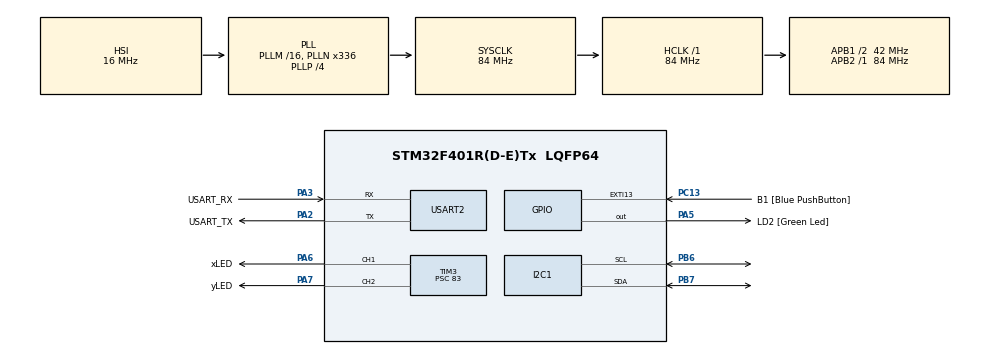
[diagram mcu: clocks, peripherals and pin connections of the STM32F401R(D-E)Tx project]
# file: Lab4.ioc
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Mcu.Family=STM32F4
Mcu.Name=STM32F401R(D-E)Tx
Mcu.Package=LQFP64
NVIC.EXTI15_10_IRQn=true\:0\:0\:false\:false\:true\:true\:true
NVIC.PriorityGroup=NVIC_PRIORITYGROUP_0
NVIC.TIM1_UP_TIM10_IRQn=true\:0\:0\:false\:false\:true\:true\:true
PA13.GPIO_Label=TMS
PA13.Mode=Serial_Wire
PA13.Signal=SYS_JTMS-SWDIO
PA14.GPIO_Label=TCK
PA14.Mode=Serial_Wire
PA14.Signal=SYS_JTCK-SWCLK
PA2.GPIO_Label=USART_TX
PA2.GPIO_Mode=GPIO_MODE_AF_PP
PA2.GPIO_PuPd=GPIO_NOPULL
PA2.GPIO_Speed=GPIO_SPEED_FREQ_LOW
PA2.Mode=Asynchronous
PA2.Signal=USART2_TX
PA3.GPIO_Label=USART_RX
PA3.GPIO_Mode=GPIO_MODE_AF_PP
PA3.GPIO_PuPd=GPIO_NOPULL
PA3.GPIO_Speed=GPIO_SPEED_FREQ_LOW
PA3.Mode=Asynchronous
PA3.Signal=USART2_RX
PA5.GPIO_Label=LD2 [Green Led]
PA5.GPIO_Mode=GPIO_MODE_OUTPUT_PP
PA5.GPIO_PuPd=GPIO_NOPULL
PA5.GPIO_Speed=GPIO_SPEED_FREQ_LOW
PA5.Signal=GPIO_Output
PA6.GPIO_Label=xLED
PA6.Signal=S_TIM3_CH1
PA7.GPIO_Label=yLED
PA7.Signal=S_TIM3_CH2
PB3.GPIO_Label=SWO
PB3.Signal=SYS_JTDO-SWO
PB6.Mode=I2C
PB6.Signal=I2C1_SCL
PB7.Mode=I2C
PB7.Signal=I2C1_SDA
PC13-ANTI_TAMP.GPIO_Label=B1 [Blue PushButton]
PC13-ANTI_TAMP.GPIO_ModeDefaultEXTI=GPIO_MODE_IT_FALLING
PC13-ANTI_TAMP.GPIO_PuPd=GPIO_NOPULL
PC13-ANTI_TAMP.Signal=GPXTI13
PC14-OSC32_IN.Mode=LSE-External-Oscillator
PC14-OSC32_IN.Signal=RCC_OSC32_IN
PC15-OSC32_OUT.Mode=LSE-External-Oscillator
PC15-OSC32_OUT.Signal=RCC_OSC32_OUT
PH0\ -\ OSC_IN.Mode=HSE-External-Clock-Source
PH0\ -\ OSC_IN.Signal=RCC_OSC_IN
PH1\ -\ OSC_OUT.Mode=HSE-External-Clock-Source
PH1\ -\ OSC_OUT.Signal=RCC_OSC_OUT
ProjectManager.HeapSize=0x200
ProjectManager.StackSize=0x400
ProjectManager.TargetToolchain=STM32CubeIDE
RCC.48MHZClocksFreq_Value=48000000
RCC.AHBFreq_Value=84000000
RCC.APB1CLKDivider=RCC_HCLK_DIV2
RCC.APB1Freq_Value=42000000
RCC.APB1TimFreq_Value=84000000
RCC.APB2Freq_Value=84000000
RCC.APB2TimFreq_Value=84000000
RCC.CortexFreq_Value=84000000
RCC.HCLKFreq_Value=84000000
RCC.HSE_VALUE=8000000
RCC.HSI_VALUE=16000000
RCC.PLLN=336
RCC.PLLP=RCC_PLLP_DIV4
RCC.PLLQ=7
RCC.SYSCLKFreq_VALUE=84000000
RCC.SYSCLKSource=RCC_SYSCLKSOURCE_PLLCLK
RCC.VCOOutputFreq_Value=336000000
SH.S_TIM3_CH1.0=TIM3_CH1,PWM Generation1 CH1
SH.S_TIM3_CH2.0=TIM3_CH2,PWM Generation2 CH2
TIM1.Period=1999
TIM1.Prescaler=8399
TIM3.Channel-PWM\ Generation1\ CH1=TIM_CHANNEL_1
TIM3.Channel-PWM\ Generation2\ CH2=TIM_CHANNEL_2
TIM3.Period=999
TIM3.Prescaler=83
USART2.VirtualMode=VM_ASYNC
VP_TIM1_VS_ClockSourceINT.Mode=Internal
board=NUCLEO-F401RE

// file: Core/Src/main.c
/* USER CODE BEGIN Header */
/**
 ******************************************************************************
 * @file           : main.c
 * @brief          : Main program body
 ******************************************************************************
 * @attention
 *
 * <h2><center>&copy; Copyright (c) 2020 STMicroelectronics.
 * All rights reserved.</center></h2>
 *
 * This software component is licensed by ST under BSD 3-Clause license,
 * the "License"; You may not use this file except in compliance with the
 * License. You may obtain a copy of the License at:
 *                        opensource.org/licenses/BSD-3-Clause
 *
 ******************************************************************************
 */
/* USER CODE END Header */
#include "main.h"

/* USER CODE BEGIN Includes */
#include <math.h>
/* USER CODE END Includes */

/* USER CODE BEGIN PD */
#define adxl_address 0x53<<1
/* USER CODE END PD */

I2C_HandleTypeDef hi2c1;

TIM_HandleTypeDef htim1;
TIM_HandleTypeDef htim3;

UART_HandleTypeDef huart2;

/* USER CODE BEGIN PV */
uint8_t data_rec[6];
int16_t x, y, z;
double xg, yg, zg;
int updateReady = 0;	// flag
int offset = 0;
int xDegree = 0;
int yDegree = 0;
uint32_t pwm = 0;

/* USER CODE END PV */

void SystemClock_Config(void);
static void MX_GPIO_Init(void);
static void MX_USART2_UART_Init(void);
static void MX_I2C1_Init(void);
static void MX_TIM1_Init(void);
static void MX_TIM3_Init(void);

/* USER CODE BEGIN 0 */

void levelBubbleLED(){

	if(xDegree < 1){
		// x LED Pin low
		pwm=0;
		__HAL_TIM_SET_COMPARE(&htim3, TIM_CHANNEL_1, pwm);
	}
	else if(xDegree >= 1 && xDegree <= 5){
		pwm=99;
		__HAL_TIM_SET_COMPARE(&htim3, TIM_CHANNEL_1, pwm);

	}
	else{	// >5
		// x LED Pin high
		pwm=999;
		__HAL_TIM_SET_COMPARE(&htim3, TIM_CHANNEL_1, pwm);
	}

	if(yDegree < 1){
		// y LED Pin low
		pwm=0;
		__HAL_TIM_SET_COMPARE(&htim3, TIM_CHANNEL_2, pwm);
	}
	else if(yDegree >= 1 && yDegree <= 5){
		pwm=99;
		__HAL_TIM_SET_COMPARE(&htim3, TIM_CHANNEL_2, pwm);
	}
	else{	// >5
		// y LED Pin high
		pwm=999;
		__HAL_TIM_SET_COMPARE(&htim3, TIM_CHANNEL_2, pwm);
	}
}

void ADXL345_Write(uint8_t reg, uint8_t value){
	uint8_t data[2];
	data[0] = reg;
	data[1] = value;
	HAL_I2C_Master_Transmit(&hi2c1, adxl_address, data, 2, 10);
}

void ADXL345_Read(uint8_t reg, uint8_t numberOfBytes){
	HAL_I2C_Mem_Read(&hi2c1, adxl_address, reg, 1, data_rec, numberOfBytes, 100);
}

void ADXL345_Init(){
	ADXL345_Read(0x00, 1);	//0xE5

	ADXL345_Write(0x2d, 0);		// reset all bits
	ADXL345_Write(0x2d, 0x08);
	ADXL345_Write(0x31, 0x01);
}

void ADXL345_SetOffset(uint8_t x, uint8_t y, uint8_t z){
	// write values to offset registers
	ADXL345_Write(0x1E, x);
	HAL_Delay(10);
	ADXL345_Write(0x1F, y);
	HAL_Delay(10);
	ADXL345_Write(0x20, z);
	HAL_Delay(10);

	offset=0;
}

void calcXDegree(){
	xDegree = (atan2(xg, sqrt(pow(yg, 2) + pow(zg, 2))) *180)/M_PI;
	//xDegree = abs(xCalc);
}

void calcYDegree(){
	//yDegree = (atan2(yg, sqrt(pow(xg, 2) + pow(zg, 2))) *180)/M_PI;
	//yDegree = abs(yCalc);

	yDegree=0;
}

void readValues(){
	if(updateReady==1){
		// read ADXL x and y values from register
		ADXL345_Read(0x32, 6);

		x=(data_rec[1]<<8 | data_rec[0]);
		y=(data_rec[3]<<8 | data_rec[2]);
		z=(data_rec[5]<<8 | data_rec[4]);

		// calibrate
		if(offset == 1){
			ADXL345_SetOffset((-x/4), (-y/4), (-z/4));
		}

		//convert to g
		xg=x*0.0078;
		yg=y*0.0078;
		zg=z*0.0078;

		// calculate g values to degrees
		calcXDegree();
		calcYDegree();

		// display result with LEDs
		levelBubbleLED();

		// reset
		updateReady = 0;
	}
}

/* USER CODE END 0 */

int main(void)
{

  /* MCU Configuration--------------------------------------------------------*/

  /* Reset of all peripherals, Initializes the Flash interface and the Systick. */
  HAL_Init();

  /* Configure the system clock */
  SystemClock_Config();

  /* Initialize all configured peripherals */
  MX_GPIO_Init();
  MX_USART2_UART_Init();
  MX_I2C1_Init();
  MX_TIM1_Init();
  MX_TIM3_Init();
  /* USER CODE BEGIN 2 */

	ADXL345_Init();
	HAL_TIM_Base_Start_IT(&htim1);	// start timer for 5 Hz interrupt

	// Start PWM timer for x and y LED
	HAL_TIM_PWM_Start(&htim3, TIM_CHANNEL_1);
	HAL_TIM_PWM_Start(&htim3, TIM_CHANNEL_2);

  /* USER CODE END 2 */

  /* Infinite loop */
  /* USER CODE BEGIN WHILE */
	while (1)
	{
		readValues();
    /* USER CODE END WHILE */

	}
}

void SystemClock_Config(void)
{
  RCC_OscInitTypeDef RCC_OscInitStruct = {0};
  RCC_ClkInitTypeDef RCC_ClkInitStruct = {0};

  /** Configure the main internal regulator output voltage
  */
  __HAL_RCC_PWR_CLK_ENABLE();
  __HAL_PWR_VOLTAGESCALING_CONFIG(PWR_REGULATOR_VOLTAGE_SCALE2);
  /** Initializes the RCC Oscillators according to the specified parameters
  * in the RCC_OscInitTypeDef structure.
  */
  RCC_OscInitStruct.OscillatorType = RCC_OSCILLATORTYPE_HSI;
  RCC_OscInitStruct.HSIState = RCC_HSI_ON;
  RCC_OscInitStruct.HSICalibrationValue = RCC_HSICALIBRATION_DEFAULT;
  RCC_OscInitStruct.PLL.PLLState = RCC_PLL_ON;
  RCC_OscInitStruct.PLL.PLLSource = RCC_PLLSOURCE_HSI;
  RCC_OscInitStruct.PLL.PLLM = 16;
  RCC_OscInitStruct.PLL.PLLN = 336;
  RCC_OscInitStruct.PLL.PLLP = RCC_PLLP_DIV4;
  RCC_OscInitStruct.PLL.PLLQ = 7;
  if (HAL_RCC_OscConfig(&RCC_OscInitStruct) != HAL_OK)
  {
    Error_Handler();
  }
  /** Initializes the CPU, AHB and APB buses clocks
  */
  RCC_ClkInitStruct.ClockType = RCC_CLOCKTYPE_HCLK|RCC_CLOCKTYPE_SYSCLK
                              |RCC_CLOCKTYPE_PCLK1|RCC_CLOCKTYPE_PCLK2;
  RCC_ClkInitStruct.SYSCLKSource = RCC_SYSCLKSOURCE_PLLCLK;
  RCC_ClkInitStruct.AHBCLKDivider = RCC_SYSCLK_DIV1;
  RCC_ClkInitStruct.APB1CLKDivider = RCC_HCLK_DIV2;
  RCC_ClkInitStruct.APB2CLKDivider = RCC_HCLK_DIV1;

  if (HAL_RCC_ClockConfig(&RCC_ClkInitStruct, FLASH_LATENCY_2) != HAL_OK)
  {
    Error_Handler();
  }
}

static void MX_I2C1_Init(void)
{

  hi2c1.Instance = I2C1;
  hi2c1.Init.ClockSpeed = 100000;
  hi2c1.Init.DutyCycle = I2C_DUTYCYCLE_2;
  hi2c1.Init.OwnAddress1 = 0;
  hi2c1.Init.AddressingMode = I2C_ADDRESSINGMODE_7BIT;
  hi2c1.Init.DualAddressMode = I2C_DUALADDRESS_DISABLE;
  hi2c1.Init.OwnAddress2 = 0;
  hi2c1.Init.GeneralCallMode = I2C_GENERALCALL_DISABLE;
  hi2c1.Init.NoStretchMode = I2C_NOSTRETCH_DISABLE;
  if (HAL_I2C_Init(&hi2c1) != HAL_OK)
  {
    Error_Handler();
  }

}

static void MX_TIM1_Init(void)
{

  TIM_ClockConfigTypeDef sClockSourceConfig = {0};
  TIM_MasterConfigTypeDef sMasterConfig = {0};

  htim1.Instance = TIM1;
  htim1.Init.Prescaler = 8399;
  htim1.Init.CounterMode = TIM_COUNTERMODE_UP;
  htim1.Init.Period = 1999;
  htim1.Init.ClockDivision = TIM_CLOCKDIVISION_DIV1;
  htim1.Init.RepetitionCounter = 0;
  htim1.Init.AutoReloadPreload = TIM_AUTORELOAD_PRELOAD_DISABLE;
  if (HAL_TIM_Base_Init(&htim1) != HAL_OK)
  {
    Error_Handler();
  }
  sClockSourceConfig.ClockSource = TIM_CLOCKSOURCE_INTERNAL;
  if (HAL_TIM_ConfigClockSource(&htim1, &sClockSourceConfig) != HAL_OK)
  {
    Error_Handler();
  }
  sMasterConfig.MasterOutputTrigger = TIM_TRGO_RESET;
  sMasterConfig.MasterSlaveMode = TIM_MASTERSLAVEMODE_DISABLE;
  if (HAL_TIMEx_MasterConfigSynchronization(&htim1, &sMasterConfig) != HAL_OK)
  {
    Error_Handler();
  }

}

static void MX_TIM3_Init(void)
{

  TIM_MasterConfigTypeDef sMasterConfig = {0};
  TIM_OC_InitTypeDef sConfigOC = {0};

  htim3.Instance = TIM3;
  htim3.Init.Prescaler = 83;
  htim3.Init.CounterMode = TIM_COUNTERMODE_UP;
  htim3.Init.Period = 999;
  htim3.Init.ClockDivision = TIM_CLOCKDIVISION_DIV1;
  htim3.Init.AutoReloadPreload = TIM_AUTORELOAD_PRELOAD_DISABLE;
  if (HAL_TIM_PWM_Init(&htim3) != HAL_OK)
  {
    Error_Handler();
  }
  sMasterConfig.MasterOutputTrigger = TIM_TRGO_RESET;
  sMasterConfig.MasterSlaveMode = TIM_MASTERSLAVEMODE_DISABLE;
  if (HAL_TIMEx_MasterConfigSynchronization(&htim3, &sMasterConfig) != HAL_OK)
  {
    Error_Handler();
  }
  sConfigOC.OCMode = TIM_OCMODE_PWM1;
  sConfigOC.Pulse = 0;
  sConfigOC.OCPolarity = TIM_OCPOLARITY_HIGH;
  sConfigOC.OCFastMode = TIM_OCFAST_DISABLE;
  if (HAL_TIM_PWM_ConfigChannel(&htim3, &sConfigOC, TIM_CHANNEL_1) != HAL_OK)
  {
    Error_Handler();
  }
  if (HAL_TIM_PWM_ConfigChannel(&htim3, &sConfigOC, TIM_CHANNEL_2) != HAL_OK)
  {
    Error_Handler();
  }
  HAL_TIM_MspPostInit(&htim3);

}

static void MX_USART2_UART_Init(void)
{

  huart2.Instance = USART2;
  huart2.Init.BaudRate = 115200;
  huart2.Init.WordLength = UART_WORDLENGTH_8B;
  huart2.Init.StopBits = UART_STOPBITS_1;
  huart2.Init.Parity = UART_PARITY_NONE;
  huart2.Init.Mode = UART_MODE_TX_RX;
  huart2.Init.HwFlowCtl = UART_HWCONTROL_NONE;
  huart2.Init.OverSampling = UART_OVERSAMPLING_16;
  if (HAL_UART_Init(&huart2) != HAL_OK)
  {
    Error_Handler();
  }

}

static void MX_GPIO_Init(void)
{
  GPIO_InitTypeDef GPIO_InitStruct = {0};

  /* GPIO Ports Clock Enable */
  __HAL_RCC_GPIOC_CLK_ENABLE();
  __HAL_RCC_GPIOH_CLK_ENABLE();
  __HAL_RCC_GPIOA_CLK_ENABLE();
  __HAL_RCC_GPIOB_CLK_ENABLE();

  /*Configure GPIO pin Output Level */
  HAL_GPIO_WritePin(LD2_GPIO_Port, LD2_Pin, GPIO_PIN_RESET);

  /*Configure GPIO pin : B1_Pin */
  GPIO_InitStruct.Pin = B1_Pin;
  GPIO_InitStruct.Mode = GPIO_MODE_IT_FALLING;
  GPIO_InitStruct.Pull = GPIO_NOPULL;
  HAL_GPIO_Init(B1_GPIO_Port, &GPIO_InitStruct);

  /*Configure GPIO pin : LD2_Pin */
  GPIO_InitStruct.Pin = LD2_Pin;
  GPIO_InitStruct.Mode = GPIO_MODE_OUTPUT_PP;
  GPIO_InitStruct.Pull = GPIO_NOPULL;
  GPIO_InitStruct.Speed = GPIO_SPEED_FREQ_LOW;
  HAL_GPIO_Init(LD2_GPIO_Port, &GPIO_InitStruct);

  /* EXTI interrupt init*/
  HAL_NVIC_SetPriority(EXTI15_10_IRQn, 0, 0);
  HAL_NVIC_EnableIRQ(EXTI15_10_IRQn);

}

/* USER CODE BEGIN 4 */

// 5Hz update
void HAL_TIM_PeriodElapsedCallback(TIM_HandleTypeDef *htim){
	if(htim->Instance == TIM1){
		updateReady = 1;
	}
}

// calibrate button
void HAL_GPIO_EXTI_Callback(uint16_t GPIO_Pin){
	if(GPIO_Pin == B1_Pin){
		// set offset flag
		offset = 1;

		//test interrupt
		//HAL_GPIO_WritePin(LD2_GPIO_Port, LD2_Pin, SET);
	}
}

/* USER CODE END 4 */

void Error_Handler(void)
{
	__disable_irq();
	while (1)
	{
	}
}

/************************ (C) COPYRIGHT STMicroelectronics *****END OF FILE****/
